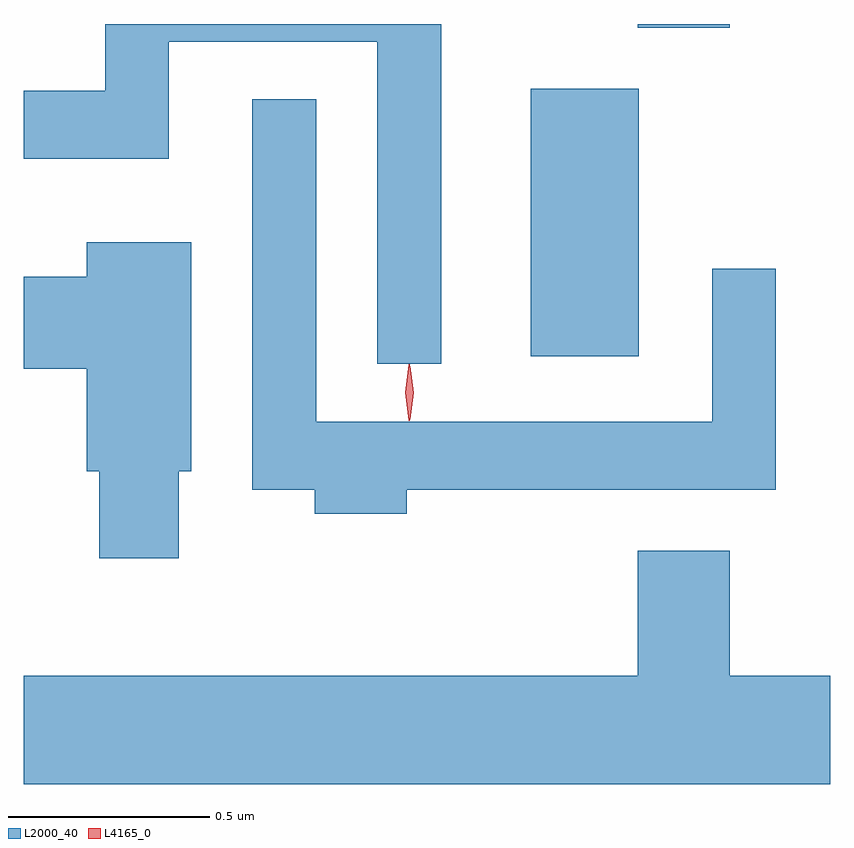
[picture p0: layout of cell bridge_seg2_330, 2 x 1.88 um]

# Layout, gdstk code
import gdstk
lib = gdstk.Library(unit=1e-6, precision=1e-09)
def R(c, l, rs):  # rectangles x0, y0, x1, y1
    for r in rs: c.add(gdstk.rectangle(r[:2], r[2:], *l))
def P(c, l, *ps):  # polygons
    for p in ps: c.add(gdstk.Polygon(p, *l))
L2000_40 = (2000, 40)
L4165_0 = (4165, 0)

bridge_seg2_330 = lib.new_cell('bridge_seg2_330')
R(bridge_seg2_330, L2000_40, [(413.576,1047.156,413.844,1047.819), (413.841,1047.971,414.069,1047.98)])
P(bridge_seg2_330, L2000_40, [(413.354,1047.98),(412.521,1047.98),(412.521,1047.814),(412.319,1047.814),(412.319,1047.646),(412.679,1047.646),(412.679,1047.936),(413.196,1047.936),(413.196,1047.138),(413.354,1047.138)],
  [(413.269,1046.826),(414.184,1046.826),(414.184,1047.373),(414.026,1047.373),(414.026,1046.994),(413.044,1046.994),(413.044,1047.793),(412.886,1047.793),(412.886,1046.826),(413.041,1046.826),(413.041,1046.766),(413.269,1046.766)],
  [(412.704,1046.871),(412.734,1046.871),(412.734,1047.439),(412.476,1047.439),(412.476,1047.354),(412.319,1047.354),(412.319,1047.126),(412.476,1047.126),(412.476,1046.871),(412.506,1046.871),(412.506,1046.656),(412.704,1046.656)],
  [(414.319,1046.364),(414.069,1046.364),(414.069,1046.674),(413.841,1046.674),(413.841,1046.364),(412.319,1046.364),(412.319,1046.096),(414.319,1046.096)])
P(bridge_seg2_330, L4165_0, [(413.276,1047),(413.276,1047),(413.266,1047.066),(413.276,1047.132),(413.276,1047.133),(413.277,1047.132),(413.286,1047.066),(413.277,1047)],
  [(413.274,1046.997),(413.265,1047.067),(413.274,1047.136),(413.275,1047.136),(413.276,1047.136),(413.285,1047.067),(413.276,1046.997),(413.275,1046.997)])

lib.write_gds('bridge_seg2_330.gds')
